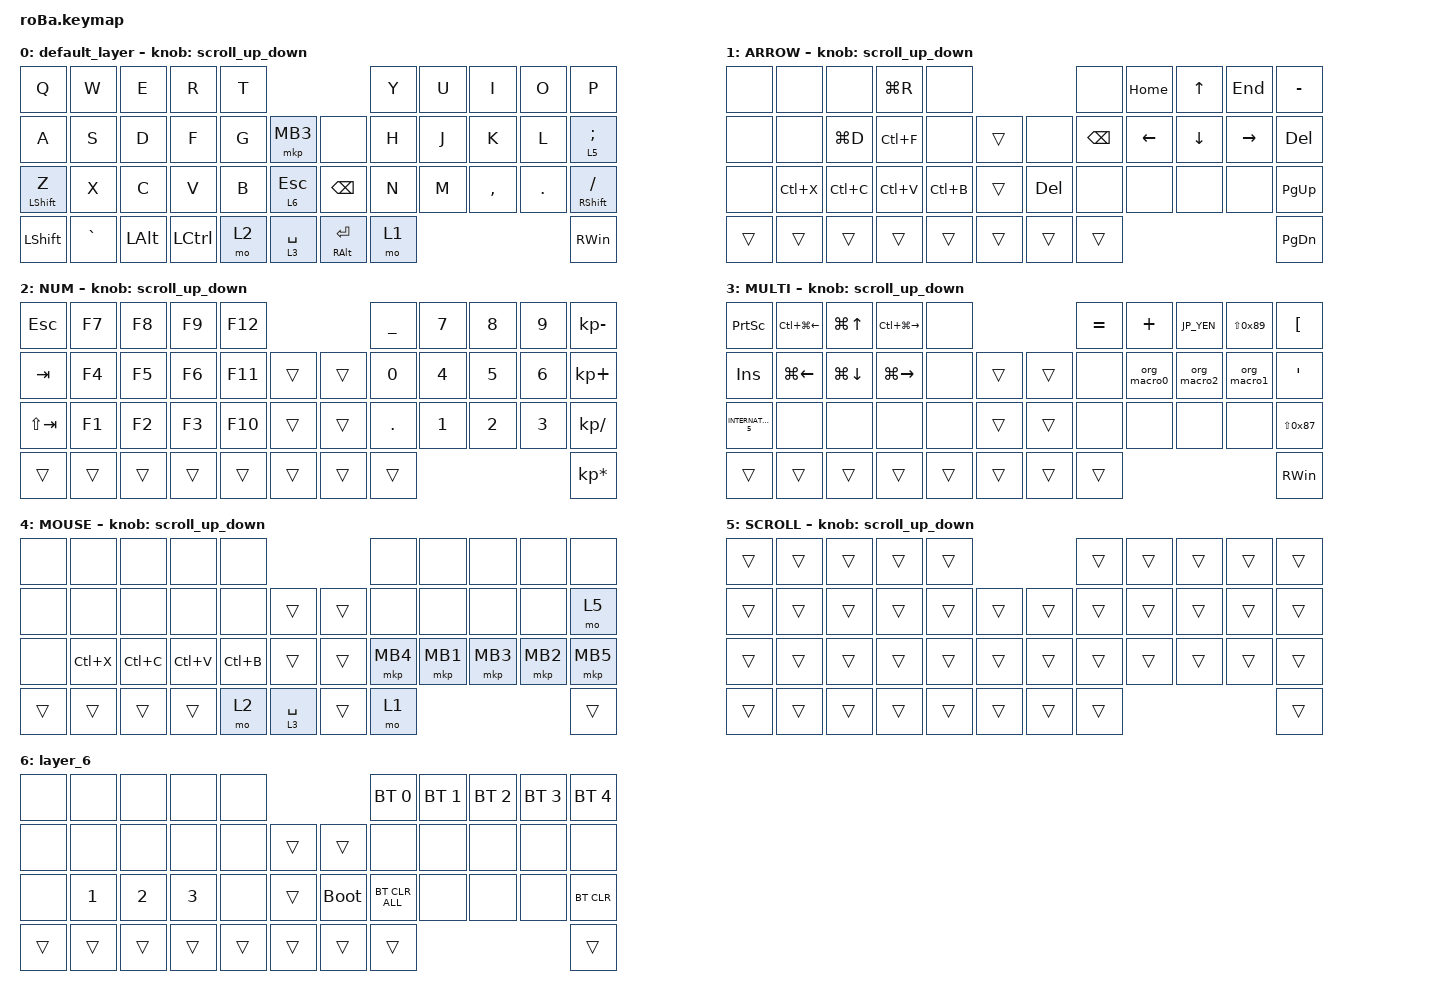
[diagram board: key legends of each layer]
#include <behaviors.dtsi>
#include <dt-bindings/zmk/bt.h>
#include <dt-bindings/zmk/keys.h>
#include <dt-bindings/zmk/pointing.h>

// Mod by Koichi YAMASAKI
// https://note.com/kloir_z/n/n314e739f03a1
// OS設定を日本語キーボードのまま使用するための変換定義

#define JP_DQUOTE       AT                // "
#define JP_AMPERSAND    CARET             // &
#define JP_QUOTE        AMPERSAND         // '
#define JP_EQUAL        UNDER             // =
#define JP_CARET        EQUAL             // ^
#define JP_YEN          0x89              // ¥
#define JP_PLUS         COLON             // +
#define JP_TILDE        PLUS              // ~
#define JP_PIPE         LS(0x89)          // |
#define JP_AT           LEFT_BRACKET      // @
#define JP_COLON        SINGLE_QUOTE      // :
#define JP_ASTERISK     DOUBLE_QUOTES     // *
#define JP_BACKQUOTE    LEFT_BRACE        // `
#define JP_UNDERSCORE   LS(0x87)          // _
#define JP_LBRACKET     RIGHT_BRACKET     // [
#define JP_RBRACKET     BACKSLASH         // ]
#define JP_LPAREN       ASTERISK          // (
#define JP_RPAREN       LEFT_PARENTHESIS  // )
#define JP_LBRACE       RIGHT_BRACE       // {
#define JP_RBRACE       PIPE              // }
#define JP_KANA         LANGUAGE_1        // かな
#define JP_EISU         LANGUAGE_2        // 英数
#define JP_HANZEN       GRAVE             // 半角/全角

// https://note.com/fals_book/n/n7d9e1981317f
// https://zenn.dev/nya3_neko2/scraps/4149ad6f41a584

#define ZMK_POINTING_DEFAULT_SCRL_VAL 100

// Mod by Koichi YAMASAKI END

&mt {
    flavor = "balanced";
    quick-tap-ms = <0>;
};

&trackball {
    automouse-layer = <4>;
    scroll-layers = <5>;

    // arrows {
    //     layers = <3>;
    //     bindings =
    //         <&kp RIGHT_ARROW>,
    //         <&kp LEFT_ARROW>,
    //         <&kp UP_ARROW>,
    //         <&kp DOWN_ARROW>;
    //     tick = <10>;
    //     wait-ms = <5>;
    //     tap-ms = <5>;
    // };
};

/ {
    combos {
        compatible = "zmk,combos";

        // Mod by Koichi YAMASAKI
        //        tab {
        //            bindings = <&kp TAB>;
        //            key-positions = <11 12>;
        //        };
        //        shift_tab {
        //            bindings = <&kp LS(TAB)>;
        //            key-positions = <12 13>;
        //        };
        //        muhennkann {
        //            bindings = <&to_layer_0 INT_MUHENKAN>;
        //            key-positions = <11 10>;
        //        };
        //        double_quotation {
        //            bindings = <&kp DOUBLE_QUOTES>;
        //            key-positions = <20 21>;
        //        };
        //        eq {
        //            bindings = <&kp EQUAL>;
        //            key-positions = <24 25>;
        //        };
        // Mod by Koichi YAMASAKI END
    };

    macros {
        to_layer_0: to_layer_0 {
            compatible = "zmk,behavior-macro-one-param";
            #binding-cells = <1>;
            bindings = <&to 0 &macro_param_1to1 &kp MACRO_PLACEHOLDER>;
            label = "TO_LAYER_0";
        };

        org_macro0: org_macro0 {
            compatible = "zmk,behavior-macro";
            #binding-cells = <0>;
            bindings = <&kp JP_LPAREN &kp JP_RPAREN &kp LEFT_ARROW>;
            label = "ORG_MACRO0";
        };

        org_macro1: org_macro1 {
            compatible = "zmk,behavior-macro";
            #binding-cells = <0>;
            bindings = <&kp JP_LBRACKET &kp JP_RBRACKET &kp LEFT_ARROW>;
            label = "ORG_MACRO1";
        };

        org_macro2: org_macro2 {
            compatible = "zmk,behavior-macro";
            #binding-cells = <0>;
            bindings = <&kp JP_LBRACE &kp JP_RBRACE &kp LEFT_ARROW>;
            label = "ORG_MACRO2";
        };
    };

    behaviors {
        lt_to_layer_0: lt_to_layer_0 {
            compatible = "zmk,behavior-hold-tap";
            label = "LAYER_TAP_TO_0";
            bindings = <&mo>, <&to_layer_0>;

            #binding-cells = <2>;
            tapping-term-ms = <200>;
        };

        // Mod by Koichi YAMASAKI

        scroll_up_down: behavior_sensor_rotate_mouse_wheel_up_down {
            compatible = "zmk,behavior-sensor-rotate";
            #sensor-binding-cells = <0>;
            bindings = <&msc SCRL_DOWN>, <&msc SCRL_UP>;

            tap-ms = <20>;
        };

        // Mod by Koichi YAMASAKI END
    };

    keymap {
        compatible = "zmk,keymap";

        default_layer {
            bindings = <
&kp Q             &kp W          &kp E         &kp R             &kp T                                        &kp Y  &kp U  &kp I      &kp O    &kp P
&kp A             &kp S          &kp D         &kp F             &kp G  &mkp MB3         &none                &kp H  &kp J  &kp K      &kp L    &lt 5 SEMICOLON
&mt LEFT_SHIFT Z  &kp X          &kp C         &kp V             &kp B  &lt 6 ESC        &kp BACKSPACE        &kp N  &kp M  &kp COMMA  &kp DOT  &mt RIGHT_SHIFT SLASH
&kp LEFT_SHIFT    &kp JP_HANZEN  &kp LEFT_ALT  &kp LEFT_CONTROL  &mo 2  &lt 3 SPACE      &mt RIGHT_ALT ENTER  &mo 1                             &kp RIGHT_WIN
            >;

            sensor-bindings = <&scroll_up_down>; // Mod by Koichi YAMASAKI
        };

        ARROW {
            bindings = <
&none   &none      &none      &kp LG(R)  &none                              &none          &kp HOME        &kp UP_ARROW    &kp END    &kp MINUS
&none   &none      &kp LG(D)  &kp LC(F)  &none      &trans      &none       &kp BACKSPACE  &kp LEFT_ARROW  &kp DOWN_ARROW  &kp RIGHT  &kp DELETE
&none   &kp LC(X)  &kp LC(C)  &kp LC(V)  &kp LC(B)  &trans      &kp DELETE  &none          &none           &none           &none      &kp PAGE_UP
&trans  &trans     &trans     &trans     &trans     &trans      &trans      &trans                                                    &kp PAGE_DOWN
            >;

            sensor-bindings = <&scroll_up_down>;
        };

        NUM {
            bindings = <
&kp ESC      &kp F7  &kp F8  &kp F9  &kp F12                      &kp JP_EQUAL  &kp N7        &kp N8        &kp NUMBER_9  &kp KP_MINUS
&kp TAB      &kp F4  &kp F5  &kp F6  &kp F11  &trans      &trans  &kp NUMBER_0  &kp NUMBER_4  &kp N5        &kp NUMBER_6  &kp KP_PLUS
&kp LS(TAB)  &kp F1  &kp F2  &kp F3  &kp F10  &trans      &trans  &kp PERIOD    &kp NUMBER_1  &kp NUMBER_2  &kp NUMBER_3  &kp KP_DIVIDE
&trans       &trans  &trans  &trans  &trans   &trans      &trans  &trans                                                  &kp KP_MULTIPLY
            >;

            sensor-bindings = <&scroll_up_down>;
        };

        MULTI {
            bindings = <
&kp PRINTSCREEN      &kp LC(LG(LEFT_ARROW))  &kp LG(UP_ARROW)    &kp LC(LG(RIGHT_ARROW))  &none                       &kp JP_CARET  &kp JP_TILDE  &kp JP_YEN   &kp JP_PIPE  &kp JP_AT
&kp INSERT           &kp LG(LEFT_ARROW)      &kp LG(DOWN_ARROW)  &kp LG(RIGHT_ARROW)      &none   &trans      &trans  &none         &org_macro0   &org_macro2  &org_macro1  &kp JP_COLON
&kp INTERNATIONAL_5  &none                   &none               &none                    &none   &trans      &trans  &none         &none         &none        &none        &kp JP_UNDERSCORE
&trans               &trans                  &trans              &trans                   &trans  &trans      &trans  &trans                                                &kp RIGHT_WIN
            >;

            sensor-bindings = <&scroll_up_down>;
        };

        MOUSE {
            bindings = <
&none   &none      &none      &none      &none                               &none     &none     &none     &none     &none
&none   &none      &none      &none      &none      &trans           &trans  &none     &none     &none     &none     &mo 5
&none   &kp LC(X)  &kp LC(C)  &kp LC(V)  &kp LC(B)  &trans           &trans  &mkp MB4  &mkp MB1  &mkp MB3  &mkp MB2  &mkp MB5
&trans  &trans     &trans     &trans     &mo 2      &lt 3 SPACE      &trans  &mo 1                                   &trans
            >;

            sensor-bindings = <&scroll_up_down>;
        };

        SCROLL {
            bindings = <
&trans  &trans  &trans  &trans  &trans                      &trans  &trans  &trans  &trans  &trans
&trans  &trans  &trans  &trans  &trans  &trans      &trans  &trans  &trans  &trans  &trans  &trans
&trans  &trans  &trans  &trans  &trans  &trans      &trans  &trans  &trans  &trans  &trans  &trans
&trans  &trans  &trans  &trans  &trans  &trans      &trans  &trans                          &trans
            >;

            sensor-bindings = <&scroll_up_down>;
        };

        layer_6 {
            bindings = <
&none   &none         &none         &none         &none                            &bt BT_SEL 0    &bt BT_SEL 1  &bt BT_SEL 2  &bt BT_SEL 3  &bt BT_SEL 4
&none   &none         &none         &none         &none   &trans      &trans       &none           &none         &none         &none         &none
&none   &kp NUMBER_1  &kp NUMBER_2  &kp NUMBER_3  &none   &trans      &bootloader  &bt BT_CLR_ALL  &none         &none         &none         &bt BT_CLR
&trans  &trans        &trans        &trans        &trans  &trans      &trans       &trans                                                    &trans
            >;
        };
    };
};
